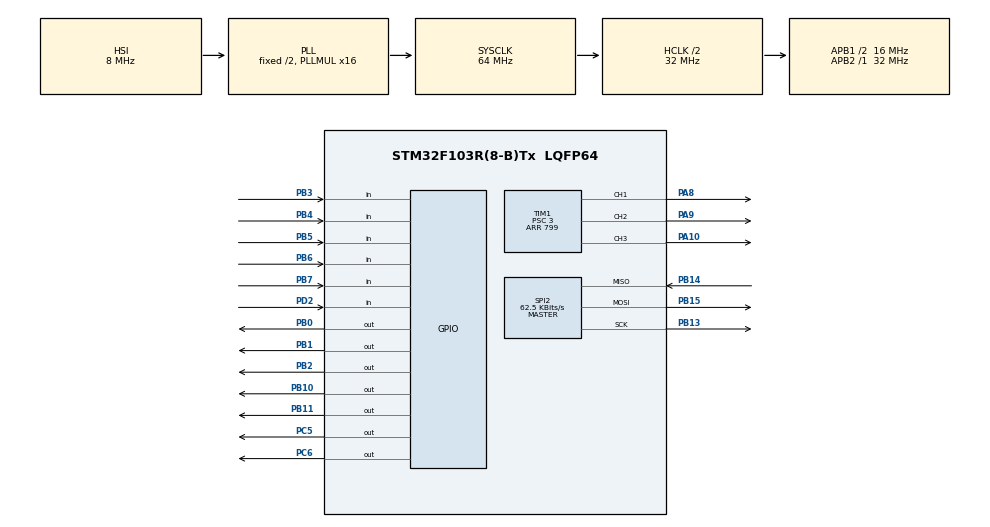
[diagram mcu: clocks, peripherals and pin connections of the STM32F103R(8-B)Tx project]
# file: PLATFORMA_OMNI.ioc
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Mcu.Family=STM32F1
Mcu.Name=STM32F103R(8-B)Tx
Mcu.Package=LQFP64
NVIC.PriorityGroup=NVIC_PRIORITYGROUP_4
NVIC.TIM2_IRQn=true\:0\:0\:false\:false\:true\:true\:true
NVIC.TIM3_IRQn=true\:0\:0\:false\:false\:true\:true\:true
PA10.Signal=S_TIM1_CH3
PA13.Mode=Serial_Wire
PA13.Signal=SYS_JTMS-SWDIO
PA14.Mode=Serial_Wire
PA14.Signal=SYS_JTCK-SWCLK
PA8.Signal=S_TIM1_CH1
PA9.Signal=S_TIM1_CH2
PB0.Signal=GPIO_Output
PB1.Signal=GPIO_Output
PB10.Signal=GPIO_Output
PB11.Signal=GPIO_Output
PB13.Mode=Full_Duplex_Master
PB13.Signal=SPI2_SCK
PB14.Mode=Full_Duplex_Master
PB14.Signal=SPI2_MISO
PB15.Mode=Full_Duplex_Master
PB15.Signal=SPI2_MOSI
PB2.Signal=GPIO_Output
PB3.Signal=GPIO_Input
PB4.Signal=GPIO_Input
PB5.Signal=GPIO_Input
PB6.Signal=GPIO_Input
PB7.Signal=GPIO_Input
PC14-OSC32_IN.Mode=LSE-External-Oscillator
PC14-OSC32_IN.Signal=RCC_OSC32_IN
PC15-OSC32_OUT.Mode=LSE-External-Oscillator
PC15-OSC32_OUT.Signal=RCC_OSC32_OUT
PC5.Signal=GPIO_Output
PC6.Signal=GPIO_Output
PD0-OSC_IN.Mode=HSE-External-Clock-Source
PD0-OSC_IN.Signal=RCC_OSC_IN
PD1-OSC_OUT.Mode=HSE-External-Clock-Source
PD1-OSC_OUT.Signal=RCC_OSC_OUT
PD2.Signal=GPIO_Input
ProjectManager.HeapSize=0x200
ProjectManager.StackSize=0x400
ProjectManager.TargetToolchain=TrueSTUDIO
RCC.AHBCLKDivider=RCC_SYSCLK_DIV2
RCC.AHBFreq_Value=32000000
RCC.APB1CLKDivider=RCC_HCLK_DIV2
RCC.APB1Freq_Value=16000000
RCC.APB1TimFreq_Value=32000000
RCC.APB2Freq_Value=32000000
RCC.APB2TimFreq_Value=32000000
RCC.HCLKFreq_Value=32000000
RCC.PLLMUL=RCC_PLL_MUL16
RCC.SYSCLKFreq_VALUE=64000000
RCC.SYSCLKSource=RCC_SYSCLKSOURCE_PLLCLK
RCC.USBFreq_Value=64000000
SH.S_TIM1_CH1.0=TIM1_CH1,PWM Generation1 CH1
SH.S_TIM1_CH2.0=TIM1_CH2,PWM Generation2 CH2
SH.S_TIM1_CH3.0=TIM1_CH3,PWM Generation3 CH3
SPI2.BaudRatePrescaler=SPI_BAUDRATEPRESCALER_256
SPI2.CLKPhase=SPI_PHASE_2EDGE
SPI2.CLKPolarity=SPI_POLARITY_HIGH
SPI2.CalculateBaudRate=62.5 KBits/s
SPI2.Direction=SPI_DIRECTION_2LINES
SPI2.FirstBit=SPI_FIRSTBIT_LSB
SPI2.Mode=SPI_MODE_MASTER
SPI2.VirtualType=VM_MASTER
TIM1.Channel-PWM\ Generation1\ CH1=TIM_CHANNEL_1
TIM1.Channel-PWM\ Generation2\ CH2=TIM_CHANNEL_2
TIM1.Channel-PWM\ Generation3\ CH3=TIM_CHANNEL_3
TIM1.Period=799
TIM1.Prescaler=3
TIM1.Pulse-PWM\ Generation1\ CH1=5
TIM1.Pulse-PWM\ Generation2\ CH2=5
TIM1.Pulse-PWM\ Generation3\ CH3=5
TIM2.Period=99
TIM2.Prescaler=31
TIM3.Period=999
TIM3.Prescaler=3199
VP_TIM1_VS_ClockSourceINT.Mode=Internal
VP_TIM2_VS_ClockSourceINT.Mode=Internal
VP_TIM3_VS_ClockSourceINT.Mode=Internal
board=custom

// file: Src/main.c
/* USER CODE BEGIN Header */
/**
  ******************************************************************************
  * @file           : main.c
  * @brief          : Main program body
  ******************************************************************************
  * @attention
  *
  * <h2><center>&copy; Copyright (c) 2019 STMicroelectronics.
  * All rights reserved.</center></h2>
  *
  * This software component is licensed by ST under BSD 3-Clause license,
  * the "License"; You may not use this file except in compliance with the
  * License. You may obtain a copy of the License at:
  *                        opensource.org/licenses/BSD-3-Clause
  *
  ******************************************************************************
  */
/* USER CODE END Header */

#include "main.h"

/* USER CODE BEGIN Includes */
#include "silnik.h"
/* USER CODE END Includes */

SPI_HandleTypeDef hspi2;

TIM_HandleTypeDef htim1;
TIM_HandleTypeDef htim2;
TIM_HandleTypeDef htim3;

void SystemClock_Config(void);
static void MX_GPIO_Init(void);
static void MX_SPI2_Init(void);
static void MX_TIM1_Init(void);
static void MX_TIM2_Init(void);
static void MX_TIM3_Init(void);
/* USER CODE BEGIN PFP */
//void HAL_TIM_PeriodElapsedCallback(TIM_HandleTypeDef *htim);
/* USER CODE END PFP */

/* USER CODE BEGIN 0 */

uint8_t spiDataTX[5] = {		//ciag bajtow rozpoczynajacy komunikacje oraz
		0x01,
		0x42,
		0x00,
		0x00,
		0x00,

};
uint8_t spiDataRX[5];		// bajty otrzymane po rozpoczeciu i inicjalizacji komunikacji
							//w zmiennej spiDataRX[4] znajduja sie dane o polozeniu galki analogowej

/* USER CODE END 0 */

int main(void)
{

  /* MCU Configuration--------------------------------------------------------*/

  /* Reset of all peripherals, Initializes the Flash interface and the Systick. */
  HAL_Init();

  /* Configure the system clock */
  SystemClock_Config();

  /* Initialize all configured peripherals */
  MX_GPIO_Init();
  MX_SPI2_Init();
  MX_TIM1_Init();
  MX_TIM2_Init();
  MX_TIM3_Init();
  /* USER CODE BEGIN 2 */

  	HAL_TIM_PWM_Start(&htim1, TIM_CHANNEL_1);
    HAL_TIM_PWM_Start(&htim1, TIM_CHANNEL_2);
    HAL_TIM_PWM_Start(&htim1, TIM_CHANNEL_3);
    HAL_TIM_Base_Start_IT(&htim2);
    HAL_TIM_Base_Start_IT(&htim3);

  /* USER CODE END 2 */

  /* Infinite loop */
  while (1)
  {

    /* USER CODE BEGIN 3 */

	  HAL_GPIO_WritePin(GPIOC, GPIO_PIN_6, GPIO_PIN_RESET);					//rozpoczecie komunikacji SPI
	  	 	  HAL_SPI_TransmitReceive(&hspi2,spiDataTX,spiDataRX,5,20);		//z padem
	  	 	  HAL_GPIO_WritePin(GPIOC, GPIO_PIN_6, GPIO_PIN_SET);
	  	 	  HAL_Delay(20);
	  	 	  	  	  	  	  	  	  	  	  	  	  	  	  	  	  	  	//pad nie dzialal analogowo wiec na podstawie ruwnan kinematyki
	  	 	  	  	  	  	  	  	  	  	  	  	  	  	  	  	  	  	//napisale predkosci danego silnika w zaleznosci od zadanego kierunku

	  	 	  if(spiDataRX[4] == 255){
	  	 	      		HAL_GPIO_WritePin(S1_PORT_IN1, S1_PIN_IN1, GPIO_PIN_RESET);		//kiedy galka nie jest uzywana wartos rejestru wynosii 255 silniki pozostaja w spoczynku
	  	 	      		HAL_GPIO_WritePin(S1_PORT_IN2, S1_PIN_IN2, GPIO_PIN_RESET);

	  	 	      		HAL_GPIO_WritePin(S2_PORT_IN1, S2_PIN_IN1, GPIO_PIN_RESET);
	  	 	      		HAL_GPIO_WritePin(S2_PORT_IN2, S2_PIN_IN2, GPIO_PIN_RESET);

	  	 	      		HAL_GPIO_WritePin(S3_PORT_IN1, S3_PIN_IN1, GPIO_PIN_RESET);
	  	 	      		HAL_GPIO_WritePin(S3_PORT_IN2, S3_PIN_IN2, GPIO_PIN_RESET);
	  	 	      	}

	  	 	    else if(spiDataRX[4] == 239){//patrzac od gory robota przod
	  	 	    	Kierunek_Silnika(&silnik_a, left);
	  	 	    	silnik_a.predkosc_zadana = 106;
	  	 	    	htim1.Instance->CCR1 = silnik_a.wypelnienie;

	   	      		HAL_GPIO_WritePin(S2_PORT_IN1, S2_PIN_IN1, GPIO_PIN_RESET);
	   	      		HAL_GPIO_WritePin(S2_PORT_IN2, S2_PIN_IN2, GPIO_PIN_RESET);

	   	      		Kierunek_Silnika(&silnik_c, right);
	   	      		silnik_c.predkosc_zadana = 106;
	   	      		htim1.Instance->CCR3 = silnik_c.wypelnienie;
	  	 	    	}

	  	 	    else if(spiDataRX[4] == 111){		//kierunek lewy-przod
	  	 	    	Kierunek_Silnika(&silnik_a, left);
	  	 	    	silnik_a.predkosc_zadana = 48;
	  	 	        htim1.Instance->CCR1 = silnik_a.wypelnienie;

	   	      		Kierunek_Silnika(&silnik_b, left);
	   	      		silnik_b.predkosc_zadana = 200;
	   	      		htim1.Instance->CCR2 = silnik_b.wypelnienie;

	   	      		Kierunek_Silnika(&silnik_c, right);
	   	      		silnik_c.predkosc_zadana = 182;
	   	      		htim1.Instance->CCR3 = silnik_c.wypelnienie;
	  	 	    	}

	  	 	    else if(spiDataRX[4] == 127){		//kierunek lewy
	  	 	    	Kierunek_Silnika(&silnik_a, left);
	  	 	    	silnik_a.predkosc_zadana = 66;
	  	 	        htim1.Instance->CCR1 = silnik_a.wypelnienie;

	   	      		Kierunek_Silnika(&silnik_b, right);
	   	      		silnik_b.predkosc_zadana = 200;
	   	      		htim1.Instance->CCR2 = silnik_b.wypelnienie;

	   	      		Kierunek_Silnika(&silnik_c, left);
	   	      		silnik_c.predkosc_zadana = 66;
	   	      		htim1.Instance->CCR3 = silnik_c.wypelnienie;
	  	 	    	}
	  	 	    else if(spiDataRX[4] == 63){		//kierunek lewy-ty³
	  	 	    	Kierunek_Silnika(&silnik_a, right);
	  	 	    	silnik_a.predkosc_zadana = 48;
	  	 	        htim1.Instance->CCR1 = silnik_a.wypelnienie;

	   	      		Kierunek_Silnika(&silnik_b, right);
	   	      		silnik_b.predkosc_zadana = 200;
	   	      		htim1.Instance->CCR2 = silnik_b.wypelnienie;

	   	      		Kierunek_Silnika(&silnik_c, left);
	   	      		silnik_c.predkosc_zadana = 182;
	   	      		htim1.Instance->CCR3 = silnik_c.wypelnienie;
	  	 	    	}
	  	 	    else if(spiDataRX[4] == 191){		//kierunek ty³
	  	 	    	Kierunek_Silnika(&silnik_a, right);
	  	 	    	silnik_a.predkosc_zadana = 106;
	  	 	    	htim1.Instance->CCR1 = silnik_a.wypelnienie;

	   	      		HAL_GPIO_WritePin(S2_PORT_IN1, S2_PIN_IN1, GPIO_PIN_RESET);
	   	      		HAL_GPIO_WritePin(S2_PORT_IN2, S2_PIN_IN2, GPIO_PIN_RESET);

	   	      		Kierunek_Silnika(&silnik_c, left);
	   	      		silnik_c.predkosc_zadana = 106;
	   	      		htim1.Instance->CCR3 = silnik_c.wypelnienie;
	  	 	    	}
	  	 	    else if(spiDataRX[4] == 159){		//kierunek prawy-ty³
	  	 	    	Kierunek_Silnika(&silnik_a, right);
	  	 	    	silnik_a.predkosc_zadana = 182;
	  	 	        htim1.Instance->CCR1 = silnik_a.wypelnienie;

	   	      		Kierunek_Silnika(&silnik_b, left);
	   	      		silnik_b.predkosc_zadana = 200;
	   	      		htim1.Instance->CCR2 = silnik_b.wypelnienie;

	   	      		Kierunek_Silnika(&silnik_c, left);
	   	      		silnik_c.predkosc_zadana = 48;
	   	      		htim1.Instance->CCR3 = silnik_c.wypelnienie;
	  	 	    	}

	  	 	    else if(spiDataRX[4] == 223){		//kierunek prawy
	  	 	    	Kierunek_Silnika(&silnik_a, right);
	  	 	    	silnik_a.predkosc_zadana = 66;
	  	 	        htim1.Instance->CCR1 = silnik_a.wypelnienie;

	   	      		Kierunek_Silnika(&silnik_b, left);
	   	      		silnik_b.predkosc_zadana = 200;
	   	      		htim1.Instance->CCR2 = silnik_b.wypelnienie;

	   	      		Kierunek_Silnika(&silnik_c, right);
	   	      		silnik_c.predkosc_zadana = 66;
	   	      		htim1.Instance->CCR3 = silnik_c.wypelnienie;
	  	 	    	}
	  	 	    else if(spiDataRX[4] == 207){		//kierunek prawy-przod
	  	 	    	Kierunek_Silnika(&silnik_a, left);
	  	 	    	silnik_a.predkosc_zadana = 48;
	  	 	        htim1.Instance->CCR1 = silnik_a.wypelnienie;

	   	      		Kierunek_Silnika(&silnik_b, left);
	   	      		silnik_b.predkosc_zadana = 200;
	   	      		htim1.Instance->CCR2 = silnik_b.wypelnienie;

	   	      		Kierunek_Silnika(&silnik_c, right);
	   	      		silnik_c.predkosc_zadana = 182;
	   	      		htim1.Instance->CCR3 = silnik_c.wypelnienie;
	  	 	    	}

	  	 	  else if(spiDataRX[4] == 254){		//obrot do okola wlasnej osi w lewo
	  	 	    	Kierunek_Silnika(&silnik_a, right);
	  	 	    	silnik_a.predkosc_zadana = 66;
	  	 	        htim1.Instance->CCR1 = silnik_a.wypelnienie;

	   	      		Kierunek_Silnika(&silnik_b, right);
	   	      		silnik_b.predkosc_zadana = 66;
	   	      		htim1.Instance->CCR2 = silnik_b.wypelnienie;

	   	      		Kierunek_Silnika(&silnik_c, right);
	   	      		silnik_c.predkosc_zadana = 66;
	   	      		htim1.Instance->CCR3 = silnik_c.wypelnienie;
	  	 	  }
	  	 	 else if(spiDataRX[4] == 253){		//obrot do okola wlasnej osi w prawo
	  	 	    	Kierunek_Silnika(&silnik_a, left);
	  	 	    	silnik_a.predkosc_zadana = 66;
	  	 	        htim1.Instance->CCR1 = silnik_a.wypelnienie;

	   	      		Kierunek_Silnika(&silnik_b, left);
	   	      		silnik_b.predkosc_zadana = 66;
	   	      		htim1.Instance->CCR2 = silnik_b.wypelnienie;

	   	      		Kierunek_Silnika(&silnik_c, left);
	   	      		silnik_c.predkosc_zadana = 66;
	   	      		htim1.Instance->CCR3 = silnik_c.wypelnienie;
	  	 	 	 	  }
  }
  /* USER CODE END 3 */
}

void SystemClock_Config(void)
{
  RCC_OscInitTypeDef RCC_OscInitStruct = {0};
  RCC_ClkInitTypeDef RCC_ClkInitStruct = {0};

  /** Initializes the CPU, AHB and APB busses clocks
  */
  RCC_OscInitStruct.OscillatorType = RCC_OSCILLATORTYPE_HSI;
  RCC_OscInitStruct.HSIState = RCC_HSI_ON;
  RCC_OscInitStruct.HSICalibrationValue = RCC_HSICALIBRATION_DEFAULT;
  RCC_OscInitStruct.PLL.PLLState = RCC_PLL_ON;
  RCC_OscInitStruct.PLL.PLLSource = RCC_PLLSOURCE_HSI_DIV2;
  RCC_OscInitStruct.PLL.PLLMUL = RCC_PLL_MUL16;
  if (HAL_RCC_OscConfig(&RCC_OscInitStruct) != HAL_OK)
  {
    Error_Handler();
  }
  /** Initializes the CPU, AHB and APB busses clocks
  */
  RCC_ClkInitStruct.ClockType = RCC_CLOCKTYPE_HCLK|RCC_CLOCKTYPE_SYSCLK
                              |RCC_CLOCKTYPE_PCLK1|RCC_CLOCKTYPE_PCLK2;
  RCC_ClkInitStruct.SYSCLKSource = RCC_SYSCLKSOURCE_PLLCLK;
  RCC_ClkInitStruct.AHBCLKDivider = RCC_SYSCLK_DIV2;
  RCC_ClkInitStruct.APB1CLKDivider = RCC_HCLK_DIV2;
  RCC_ClkInitStruct.APB2CLKDivider = RCC_HCLK_DIV1;

  if (HAL_RCC_ClockConfig(&RCC_ClkInitStruct, FLASH_LATENCY_2) != HAL_OK)
  {
    Error_Handler();
  }
}

static void MX_SPI2_Init(void)
{

  /* SPI2 parameter configuration*/
  hspi2.Instance = SPI2;
  hspi2.Init.Mode = SPI_MODE_MASTER;
  hspi2.Init.Direction = SPI_DIRECTION_2LINES;
  hspi2.Init.DataSize = SPI_DATASIZE_8BIT;
  hspi2.Init.CLKPolarity = SPI_POLARITY_HIGH;
  hspi2.Init.CLKPhase = SPI_PHASE_2EDGE;
  hspi2.Init.NSS = SPI_NSS_SOFT;
  hspi2.Init.BaudRatePrescaler = SPI_BAUDRATEPRESCALER_256;
  hspi2.Init.FirstBit = SPI_FIRSTBIT_LSB;
  hspi2.Init.TIMode = SPI_TIMODE_DISABLE;
  hspi2.Init.CRCCalculation = SPI_CRCCALCULATION_DISABLE;
  hspi2.Init.CRCPolynomial = 10;
  if (HAL_SPI_Init(&hspi2) != HAL_OK)
  {
    Error_Handler();
  }

}

static void MX_TIM1_Init(void)
{

  TIM_ClockConfigTypeDef sClockSourceConfig = {0};
  TIM_MasterConfigTypeDef sMasterConfig = {0};
  TIM_OC_InitTypeDef sConfigOC = {0};
  TIM_BreakDeadTimeConfigTypeDef sBreakDeadTimeConfig = {0};

  htim1.Instance = TIM1;
  htim1.Init.Prescaler = 3;
  htim1.Init.CounterMode = TIM_COUNTERMODE_UP;
  htim1.Init.Period = 799;
  htim1.Init.ClockDivision = TIM_CLOCKDIVISION_DIV1;
  htim1.Init.RepetitionCounter = 0;
  htim1.Init.AutoReloadPreload = TIM_AUTORELOAD_PRELOAD_DISABLE;
  if (HAL_TIM_Base_Init(&htim1) != HAL_OK)
  {
    Error_Handler();
  }
  sClockSourceConfig.ClockSource = TIM_CLOCKSOURCE_INTERNAL;
  if (HAL_TIM_ConfigClockSource(&htim1, &sClockSourceConfig) != HAL_OK)
  {
    Error_Handler();
  }
  if (HAL_TIM_PWM_Init(&htim1) != HAL_OK)
  {
    Error_Handler();
  }
  sMasterConfig.MasterOutputTrigger = TIM_TRGO_RESET;
  sMasterConfig.MasterSlaveMode = TIM_MASTERSLAVEMODE_DISABLE;
  if (HAL_TIMEx_MasterConfigSynchronization(&htim1, &sMasterConfig) != HAL_OK)
  {
    Error_Handler();
  }
  sConfigOC.OCMode = TIM_OCMODE_PWM1;
  sConfigOC.Pulse = 5;
  sConfigOC.OCPolarity = TIM_OCPOLARITY_HIGH;
  sConfigOC.OCNPolarity = TIM_OCNPOLARITY_HIGH;
  sConfigOC.OCFastMode = TIM_OCFAST_DISABLE;
  sConfigOC.OCIdleState = TIM_OCIDLESTATE_RESET;
  sConfigOC.OCNIdleState = TIM_OCNIDLESTATE_RESET;
  if (HAL_TIM_PWM_ConfigChannel(&htim1, &sConfigOC, TIM_CHANNEL_1) != HAL_OK)
  {
    Error_Handler();
  }
  if (HAL_TIM_PWM_ConfigChannel(&htim1, &sConfigOC, TIM_CHANNEL_2) != HAL_OK)
  {
    Error_Handler();
  }
  if (HAL_TIM_PWM_ConfigChannel(&htim1, &sConfigOC, TIM_CHANNEL_3) != HAL_OK)
  {
    Error_Handler();
  }
  sBreakDeadTimeConfig.OffStateRunMode = TIM_OSSR_DISABLE;
  sBreakDeadTimeConfig.OffStateIDLEMode = TIM_OSSI_DISABLE;
  sBreakDeadTimeConfig.LockLevel = TIM_LOCKLEVEL_OFF;
  sBreakDeadTimeConfig.DeadTime = 0;
  sBreakDeadTimeConfig.BreakState = TIM_BREAK_DISABLE;
  sBreakDeadTimeConfig.BreakPolarity = TIM_BREAKPOLARITY_HIGH;
  sBreakDeadTimeConfig.AutomaticOutput = TIM_AUTOMATICOUTPUT_DISABLE;
  if (HAL_TIMEx_ConfigBreakDeadTime(&htim1, &sBreakDeadTimeConfig) != HAL_OK)
  {
    Error_Handler();
  }
  HAL_TIM_MspPostInit(&htim1);

}

static void MX_TIM2_Init(void)
{

  TIM_ClockConfigTypeDef sClockSourceConfig = {0};
  TIM_MasterConfigTypeDef sMasterConfig = {0};

  htim2.Instance = TIM2;
  htim2.Init.Prescaler = 31;
  htim2.Init.CounterMode = TIM_COUNTERMODE_UP;
  htim2.Init.Period = 99;
  htim2.Init.ClockDivision = TIM_CLOCKDIVISION_DIV1;
  htim2.Init.AutoReloadPreload = TIM_AUTORELOAD_PRELOAD_DISABLE;
  if (HAL_TIM_Base_Init(&htim2) != HAL_OK)
  {
    Error_Handler();
  }
  sClockSourceConfig.ClockSource = TIM_CLOCKSOURCE_INTERNAL;
  if (HAL_TIM_ConfigClockSource(&htim2, &sClockSourceConfig) != HAL_OK)
  {
    Error_Handler();
  }
  sMasterConfig.MasterOutputTrigger = TIM_TRGO_RESET;
  sMasterConfig.MasterSlaveMode = TIM_MASTERSLAVEMODE_DISABLE;
  if (HAL_TIMEx_MasterConfigSynchronization(&htim2, &sMasterConfig) != HAL_OK)
  {
    Error_Handler();
  }

}

static void MX_TIM3_Init(void)
{

  TIM_ClockConfigTypeDef sClockSourceConfig = {0};
  TIM_MasterConfigTypeDef sMasterConfig = {0};

  htim3.Instance = TIM3;
  htim3.Init.Prescaler = 3199;
  htim3.Init.CounterMode = TIM_COUNTERMODE_UP;
  htim3.Init.Period = 999;
  htim3.Init.ClockDivision = TIM_CLOCKDIVISION_DIV1;
  htim3.Init.AutoReloadPreload = TIM_AUTORELOAD_PRELOAD_DISABLE;
  if (HAL_TIM_Base_Init(&htim3) != HAL_OK)
  {
    Error_Handler();
  }
  sClockSourceConfig.ClockSource = TIM_CLOCKSOURCE_INTERNAL;
  if (HAL_TIM_ConfigClockSource(&htim3, &sClockSourceConfig) != HAL_OK)
  {
    Error_Handler();
  }
  sMasterConfig.MasterOutputTrigger = TIM_TRGO_RESET;
  sMasterConfig.MasterSlaveMode = TIM_MASTERSLAVEMODE_DISABLE;
  if (HAL_TIMEx_MasterConfigSynchronization(&htim3, &sMasterConfig) != HAL_OK)
  {
    Error_Handler();
  }

}

static void MX_GPIO_Init(void)
{
  GPIO_InitTypeDef GPIO_InitStruct = {0};

  /* GPIO Ports Clock Enable */
  __HAL_RCC_GPIOC_CLK_ENABLE();
  __HAL_RCC_GPIOD_CLK_ENABLE();
  __HAL_RCC_GPIOB_CLK_ENABLE();
  __HAL_RCC_GPIOA_CLK_ENABLE();

  /*Configure GPIO pin Output Level */
  HAL_GPIO_WritePin(GPIOC, GPIO_PIN_5|GPIO_PIN_6, GPIO_PIN_RESET);

  /*Configure GPIO pin Output Level */
  HAL_GPIO_WritePin(GPIOB, GPIO_PIN_0|GPIO_PIN_1|GPIO_PIN_2|GPIO_PIN_10
                          |GPIO_PIN_11, GPIO_PIN_RESET);

  /*Configure GPIO pins : PC5 PC6 */
  GPIO_InitStruct.Pin = GPIO_PIN_5|GPIO_PIN_6;
  GPIO_InitStruct.Mode = GPIO_MODE_OUTPUT_PP;
  GPIO_InitStruct.Pull = GPIO_NOPULL;
  GPIO_InitStruct.Speed = GPIO_SPEED_FREQ_LOW;
  HAL_GPIO_Init(GPIOC, &GPIO_InitStruct);

  /*Configure GPIO pins : PB0 PB1 PB2 PB10
                           PB11 */
  GPIO_InitStruct.Pin = GPIO_PIN_0|GPIO_PIN_1|GPIO_PIN_2|GPIO_PIN_10
                          |GPIO_PIN_11;
  GPIO_InitStruct.Mode = GPIO_MODE_OUTPUT_PP;
  GPIO_InitStruct.Pull = GPIO_NOPULL;
  GPIO_InitStruct.Speed = GPIO_SPEED_FREQ_LOW;
  HAL_GPIO_Init(GPIOB, &GPIO_InitStruct);

  /*Configure GPIO pin : PD2 */
  GPIO_InitStruct.Pin = GPIO_PIN_2;
  GPIO_InitStruct.Mode = GPIO_MODE_INPUT;
  GPIO_InitStruct.Pull = GPIO_NOPULL;
  HAL_GPIO_Init(GPIOD, &GPIO_InitStruct);

  /*Configure GPIO pins : PB3 PB4 PB5 PB6
                           PB7 */
  GPIO_InitStruct.Pin = GPIO_PIN_3|GPIO_PIN_4|GPIO_PIN_5|GPIO_PIN_6
                          |GPIO_PIN_7;
  GPIO_InitStruct.Mode = GPIO_MODE_INPUT;
  GPIO_InitStruct.Pull = GPIO_NOPULL;
  HAL_GPIO_Init(GPIOB, &GPIO_InitStruct);

}

/* USER CODE BEGIN 4 */
/*
void HAL_TIM_PeriodElapsedCallback(TIM_HandleTypeDef *htim){
if(htim->Instance == TIM2){		//100us

}

if(htim->Instance == TIM3){		//10ms
}

}*/

/* USER CODE END 4 */

void Error_Handler(void)
{
}

/************************ (C) COPYRIGHT STMicroelectronics *****END OF FILE****/
